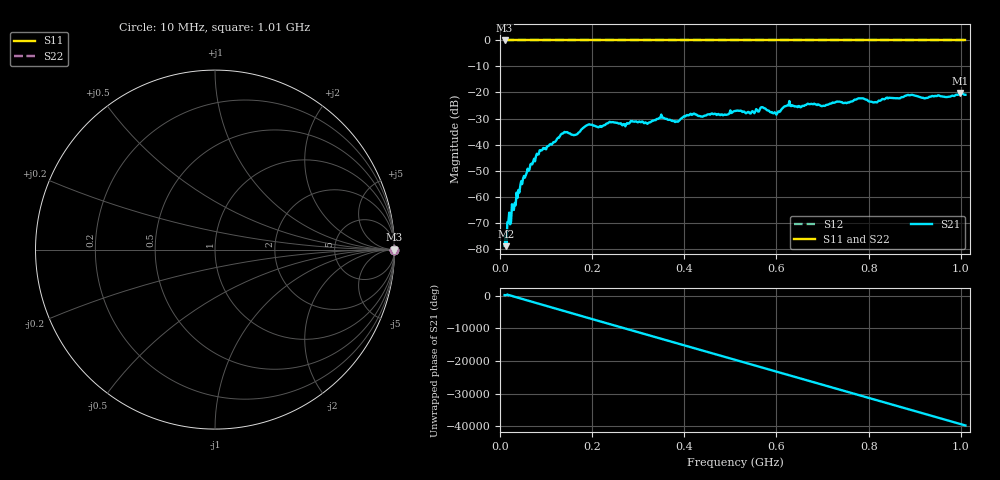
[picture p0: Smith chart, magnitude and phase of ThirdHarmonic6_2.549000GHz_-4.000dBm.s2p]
! 8/17/2025 5:11:47 AM
! C:\ANRITSUVNA\TEMP\TEMP.S2P
! CHANNEL.1
! TR.MEASUREMENT
! RAW.DATA
! RF.CORRECTION.OFF
! AVERAGING.OFF
! IF.BANDWIDTH: 5KHZ
! SWEEPTYPE:  FREQ.SWEEP(Linear)
! Reference Plane Port Info
! PORT:  PORT1  PORT2
! DISTANCE:  0  m  0  m
! TIME:  0  s  0  s
! PHASE.OFFSET:  0  deg.  0  deg.
! LOSS:  0  dB  0  dB
! REF.LOSS:  0  dB  0  dB
! REF.FREQ:  0  Hz  0  Hz
! Power Info
! POWER:  -20  dBm  -20  dBm
! EFF.POWER:  -20  dBm  -20  dBm
! SOURCE.ATTEN:  0  dB  0  dB
! TEST.ATTEN:  0  dB  0  dB
# GHZ S RI R 50.0
! FREQ.GHZ  S11RE  S11IM  S21RE  S21IM  S12RE  S12IM  S22RE  S22IM
!; PortSelection: Port_12
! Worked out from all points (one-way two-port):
!   501 points, 10 MHz to 1.01 GHz, reference 50 ohm
!   highest |S21| = -20.23 dB at 998 MHz (marker M1); lowest = -79.1 dB at 14 MHz (marker M2)
!   lowest |S11| = 0.0 dB at 10 MHz (marker M3)
!   |S11| at or under -10 dB: nowhere
!   |S22| runs from 0.0 to 0.0 dB; largest |S21 - S12| = 1.1
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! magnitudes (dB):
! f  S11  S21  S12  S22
! 10 MHz  0.0  -78.9  0.0  0.0
! 14 MHz  0.0  -79.1  0.0  0.0
! 22 MHz  0.0  -70.7  0.0  0.0
! 48 MHz  0.0  -55.2  0.0  0.0
! 82 MHz  0.0  -43.8  0.0  0.0
! 136 MHz  0.0  -35.8  0.0  0.0
! 164 MHz  0.0  -36.3  0.0  0.0
! 178 MHz  0.0  -34.0  0.0  0.0
! 192 MHz  0.0  -32.3  0.0  0.0
! 322 MHz  0.0  -31.7  0.0  0.0
! 344 MHz  0.0  -30.1  0.0  0.0
! 384 MHz  0.0  -31.2  0.0  0.0
! 416 MHz  0.0  -28.6  0.0  0.0
! 510 MHz  0.0  -27.1  0.0  0.0
! 548 MHz  0.0  -27.1  0.0  0.0
! 570 MHz  0.0  -25.7  0.0  0.0
! 598 MHz  0.0  -27.9  0.0  0.0
! 624 MHz  0.0  -25.0  0.0  0.0
! 678 MHz  0.0  -24.5  0.0  0.0
! 844 MHz  0.0  -22.0  0.0  0.0
! 998 MHz  0.0  -20.2  0.0  0.0
! 1.01 GHz  0.0  -20.9  0.0  0.0
